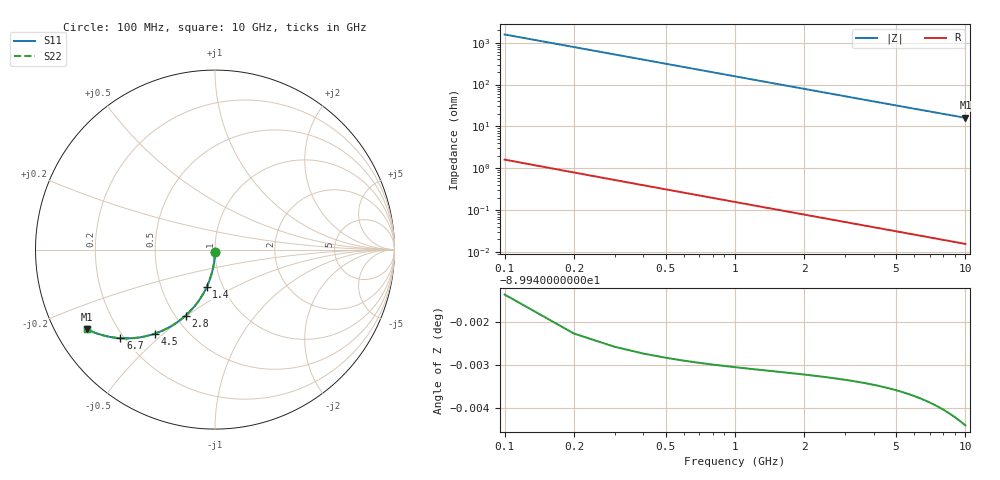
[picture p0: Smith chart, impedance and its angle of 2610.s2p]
# Hz S RI R 50.00
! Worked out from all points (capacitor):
!   100 points, 100 MHz to 10 GHz, reference 50 ohm
!   read as one part in shunt: C = 1.01 pF near 100 MHz
!   lowest |Z| = 16.1 ohm at 10 GHz (marker M1)
!   S11 on the Smith chart (normalised r, x): 100 MHz: 1.00, -0.03; 1.4 GHz: 0.84, -0.37; 2.8 GHz: 0.56, -0.49; 4.5 GHz: 0.33, -0.47; 6.7 GHz: 0.19, -0.38; 10 GHz: 0.09, -0.28
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1e8  -0.000254 -0.0158  0.9997 -0.0159  0.9997 -0.0159  -0.000254 -0.0158
2e8  -0.00102 -0.0315  0.9989 -0.0318  0.9989 -0.0318  -0.00102 -0.0315
3e8  -0.00229 -0.0472  0.9977 -0.0477  0.9977 -0.0477  -0.00229 -0.0472
4e8  -0.00406 -0.0629  0.9959 -0.0635  0.9959 -0.0635  -0.00406 -0.0629
5e8  -0.00631 -0.0784  0.9937 -0.0792  0.9937 -0.0792  -0.00631 -0.0784
6e8  -0.00905 -0.0938  0.9909 -0.0947  0.9909 -0.0947  -0.00905 -0.0938
7e8  -0.0123 -0.1091  0.9877 -0.1101  0.9877 -0.1101  -0.0123 -0.1091
9e8  -0.0201 -0.1391  0.9799 -0.1405  0.9799 -0.1405  -0.0201 -0.1391
1.1e9  -0.0296 -0.1683  0.9703 -0.17  0.9703 -0.17  -0.0296 -0.1683
1.4e9  -0.0471 -0.2103  0.9529 -0.2124  0.9529 -0.2124  -0.0471 -0.2103
1.8e9  -0.0754 -0.2622  0.9246 -0.2649  0.9246 -0.2649  -0.0754 -0.2622
2.3e9  -0.1173 -0.3195  0.8827 -0.323  0.8827 -0.323  -0.1173 -0.3195
2.8e9  -0.1643 -0.3679  0.8357 -0.3721  0.8357 -0.3721  -0.1643 -0.3679
3.4e9  -0.2243 -0.4141  0.7756 -0.4192  0.7756 -0.4192  -0.2243 -0.4141
3.9e9  -0.2754 -0.4433  0.7246 -0.4492  0.7246 -0.4492  -0.2754 -0.4433
4.5e9  -0.3356 -0.4683  0.6643 -0.4751  0.6643 -0.4751  -0.3356 -0.4683
5.1e9  -0.3932 -0.4841  0.6068 -0.4918  0.6068 -0.4918  -0.3932 -0.4841
5.9e9  -0.464 -0.4937  0.536 -0.5027  0.536 -0.5027  -0.464 -0.4937
6.7e9  -0.5271 -0.4936  0.4728 -0.5039  0.4728 -0.5039  -0.5271 -0.4936
7.5e9  -0.5824 -0.4869  0.4175 -0.4984  0.4175 -0.4984  -0.5824 -0.4869
8.4e9  -0.636 -0.4741  0.3638 -0.4871  0.3638 -0.4871  -0.636 -0.4741
1e10  -0.7121 -0.4445  0.2878 -0.46  0.2878 -0.46  -0.7121 -0.4445
